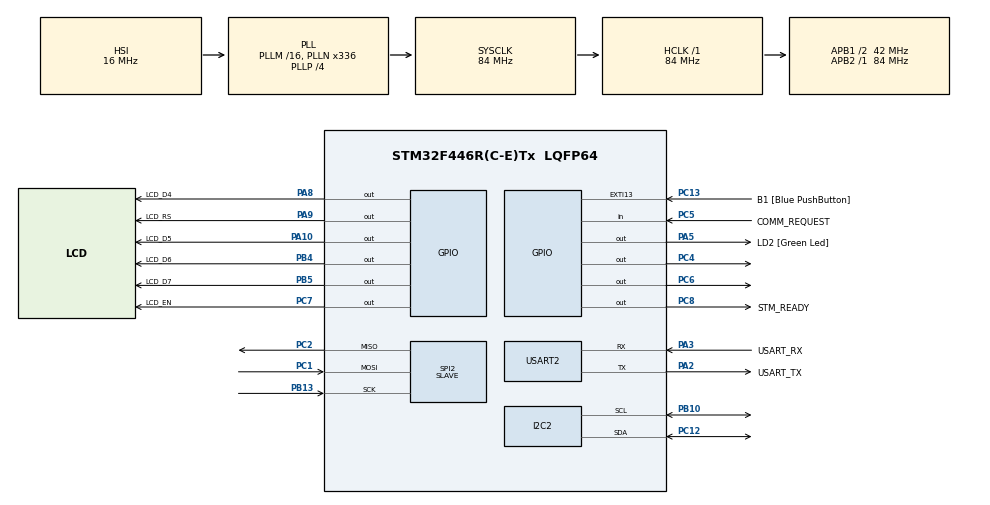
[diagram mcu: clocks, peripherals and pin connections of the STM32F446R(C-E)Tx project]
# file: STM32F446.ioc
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Mcu.Family=STM32F4
Mcu.Name=STM32F446R(C-E)Tx
Mcu.Package=LQFP64
NVIC.PriorityGroup=NVIC_PRIORITYGROUP_0
PA10.GPIO_Label=LCD_D5
PA10.Signal=GPIO_Output
PA13.GPIO_Label=TMS
PA13.Mode=Serial_Wire
PA13.Signal=SYS_JTMS-SWDIO
PA14.GPIO_Label=TCK
PA14.Mode=Serial_Wire
PA14.Signal=SYS_JTCK-SWCLK
PA2.GPIO_Label=USART_TX
PA2.Mode=Asynchronous
PA2.Signal=USART2_TX
PA3.GPIO_Label=USART_RX
PA3.Mode=Asynchronous
PA3.Signal=USART2_RX
PA5.GPIO_Label=LD2 [Green Led]
PA5.Signal=GPIO_Output
PA8.GPIO_Label=LCD_D4
PA8.Signal=GPIO_Output
PA9.GPIO_Label=LCD_RS
PA9.Signal=GPIO_Output
PB10.Mode=I2C
PB10.Signal=I2C2_SCL
PB13.Mode=Full_Duplex_Slave
PB13.Signal=SPI2_SCK
PB3.GPIO_Label=SWO
PB3.Signal=SYS_JTDO-SWO
PB4.GPIO_Label=LCD_D6
PB4.Signal=GPIO_Output
PB5.GPIO_Label=LCD_D7
PB5.Signal=GPIO_Output
PC1.Mode=Full_Duplex_Slave
PC1.Signal=SPI2_MOSI
PC12.Mode=I2C
PC12.Signal=I2C2_SDA
PC13.GPIO_Label=B1 [Blue PushButton]
PC13.GPIO_ModeDefaultEXTI=GPIO_MODE_IT_FALLING
PC13.Signal=GPXTI13
PC14-OSC32_IN.Mode=LSE-External-Oscillator
PC14-OSC32_IN.Signal=RCC_OSC32_IN
PC15-OSC32_OUT.Mode=LSE-External-Oscillator
PC15-OSC32_OUT.Signal=RCC_OSC32_OUT
PC2.Mode=Full_Duplex_Slave
PC2.Signal=SPI2_MISO
PC4.Signal=GPIO_Output
PC5.GPIO_Label=COMM_REQUEST
PC5.Signal=GPIO_Input
PC6.Signal=GPIO_Output
PC7.GPIO_Label=LCD_EN
PC7.Signal=GPIO_Output
PC8.GPIO_Label=STM_READY
PC8.Signal=GPIO_Output
PH0-OSC_IN.Mode=HSE-External-Oscillator
PH0-OSC_IN.Signal=RCC_OSC_IN
PH1-OSC_OUT.Mode=HSE-External-Oscillator
PH1-OSC_OUT.Signal=RCC_OSC_OUT
ProjectManager.HeapSize=0x200
ProjectManager.StackSize=0x400
ProjectManager.TargetToolchain=STM32CubeIDE
RCC.48MHZClocksFreq_Value=84000000
RCC.AHBFreq_Value=84000000
RCC.APB1CLKDivider=RCC_HCLK_DIV2
RCC.APB1Freq_Value=42000000
RCC.APB1TimFreq_Value=84000000
RCC.APB2Freq_Value=84000000
RCC.APB2TimFreq_Value=84000000
RCC.CortexFreq_Value=84000000
RCC.FLatency-AdvancedSettings=FLASH_LATENCY_2
RCC.HCLKFreq_Value=84000000
RCC.HSE_VALUE=8000000
RCC.HSI_VALUE=16000000
RCC.PLLN=336
RCC.PLLP=RCC_PLLP_DIV4
RCC.SYSCLKFreq_VALUE=84000000
RCC.SYSCLKSource=RCC_SYSCLKSOURCE_PLLCLK
RCC.USBFreq_Value=168000000
RCC.VCOOutputFreq_Value=336000000
SPI2.Direction=SPI_DIRECTION_2LINES
SPI2.Mode=SPI_MODE_SLAVE
SPI2.VirtualType=VM_SLAVE
USART2.VirtualMode=VM_ASYNC
board=NUCLEO-F446RE

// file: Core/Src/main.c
/* USER CODE BEGIN Header */
/**
  ******************************************************************************
  * @file           : main.c
  * @brief          : Main program body
  ******************************************************************************
  * @attention
  *
  * Copyright (c) 2026 STMicroelectronics.
  * All rights reserved.
  *
  * This software is licensed under terms that can be found in the LICENSE file
  * in the root directory of this software component.
  * If no LICENSE file comes with this software, it is provided AS-IS.
  *
  ******************************************************************************
  */
/* USER CODE END Header */
#include "main.h"

/* USER CODE BEGIN Includes */
#include "scheduler.h"
#include "sensor_manager.h"
#include "comm_manager.h"
#include "LCD.h"

//Sensors
#include "bmp180.h"
/* USER CODE END Includes */

I2C_HandleTypeDef hi2c2;

SPI_HandleTypeDef hspi2;

UART_HandleTypeDef huart2;

/* USER CODE BEGIN PV */
uint8_t txBuff[11] = {0xAA, 0xBB, 0xCC, 0xDD, 0x11, 0x22};
uint8_t rxBuff[11] = {0};
const uint32_t SPI_TIMEOUT = 30;
/* USER CODE END PV */

void SystemClock_Config(void);
static void MX_GPIO_Init(void);
static void MX_USART2_UART_Init(void);
static void MX_I2C2_Init(void);
static void MX_SPI2_Init(void);

/* USER CODE BEGIN 0 */
//Sensor wiring
void BMP_Init(I2C_HandleTypeDef *i2c_loc){
  BMP180_Init(i2c_loc);
  BMP180_SetOversampling(BMP180_STANDARD);
  BMP180_UpdateCalibrationData();
}

void AllSensor_Init(void){
  BMP_Init(&hi2c2);
}

void InitializeSPI(void){
  Comm_PassRxBufferPtr(rxBuff);
  Comm_UpdateSPISnapshot();
  const SystemSnapshot_t *snap = &snapActive;
  memcpy(txBuff, snap, sizeof(SystemSnapshot_t));
  HAL_GPIO_WritePin(GPIOC, GPIO_PIN_8, GPIO_PIN_SET);
  HAL_SPI_TransmitReceive(&hspi2, txBuff, rxBuff, 11, SPI_TIMEOUT);
  HAL_GPIO_WritePin(GPIOC, GPIO_PIN_8, GPIO_PIN_RESET);

  //Do below only when CRC is not correct
  //HAL_SPI_Abort(&hspi2);      // stop ongoing transfer (blocking)
  HAL_SPI_DeInit(&hspi2);     // reset peripheral state
  HAL_SPI_Init(&hspi2);       // reinitialize
  //Comm_HandleSPIData();
}
/* USER CODE END 0 */

int main(void)
{

  /* MCU Configuration--------------------------------------------------------*/

  /* Reset of all peripherals, Initializes the Flash interface and the Systick. */
  HAL_Init();

  /* Configure the system clock */
  SystemClock_Config();

  /* Initialize all configured peripherals */
  MX_GPIO_Init();
  MX_USART2_UART_Init();
  MX_I2C2_Init();
  MX_SPI2_Init();
  /* USER CODE BEGIN 2 */
  Sensor_Init();
  AllSensor_Init();
  Scheduler_Init();
  LCD_Init();
  int lel = 2;
  if (HAL_I2C_IsDeviceReady(&hi2c2, 0x77<<1, 3, 100) != HAL_OK) {
      lel = 0;
  }
  /* USER CODE END 2 */

  /* Infinite loop */
  /* USER CODE BEGIN WHILE */
  while (1)
  {
	Scheduler_Run();

	lel++;
	if(HAL_GPIO_ReadPin(GPIOC, GPIO_PIN_13) == GPIO_PIN_RESET){
		HAL_GPIO_TogglePin(GPIOA, GPIO_PIN_5);
		HAL_Delay(300);
	}
    /* USER CODE END WHILE */

  }
}

void SystemClock_Config(void)
{
  RCC_OscInitTypeDef RCC_OscInitStruct = {0};
  RCC_ClkInitTypeDef RCC_ClkInitStruct = {0};

  /** Configure the main internal regulator output voltage
  */
  __HAL_RCC_PWR_CLK_ENABLE();
  __HAL_PWR_VOLTAGESCALING_CONFIG(PWR_REGULATOR_VOLTAGE_SCALE3);

  /** Initializes the RCC Oscillators according to the specified parameters
  * in the RCC_OscInitTypeDef structure.
  */
  RCC_OscInitStruct.OscillatorType = RCC_OSCILLATORTYPE_HSI;
  RCC_OscInitStruct.HSIState = RCC_HSI_ON;
  RCC_OscInitStruct.HSICalibrationValue = RCC_HSICALIBRATION_DEFAULT;
  RCC_OscInitStruct.PLL.PLLState = RCC_PLL_ON;
  RCC_OscInitStruct.PLL.PLLSource = RCC_PLLSOURCE_HSI;
  RCC_OscInitStruct.PLL.PLLM = 16;
  RCC_OscInitStruct.PLL.PLLN = 336;
  RCC_OscInitStruct.PLL.PLLP = RCC_PLLP_DIV4;
  RCC_OscInitStruct.PLL.PLLQ = 2;
  RCC_OscInitStruct.PLL.PLLR = 2;
  if (HAL_RCC_OscConfig(&RCC_OscInitStruct) != HAL_OK)
  {
    Error_Handler();
  }

  /** Initializes the CPU, AHB and APB buses clocks
  */
  RCC_ClkInitStruct.ClockType = RCC_CLOCKTYPE_HCLK|RCC_CLOCKTYPE_SYSCLK
                              |RCC_CLOCKTYPE_PCLK1|RCC_CLOCKTYPE_PCLK2;
  RCC_ClkInitStruct.SYSCLKSource = RCC_SYSCLKSOURCE_PLLCLK;
  RCC_ClkInitStruct.AHBCLKDivider = RCC_SYSCLK_DIV1;
  RCC_ClkInitStruct.APB1CLKDivider = RCC_HCLK_DIV2;
  RCC_ClkInitStruct.APB2CLKDivider = RCC_HCLK_DIV1;

  if (HAL_RCC_ClockConfig(&RCC_ClkInitStruct, FLASH_LATENCY_2) != HAL_OK)
  {
    Error_Handler();
  }
}

static void MX_I2C2_Init(void)
{

  hi2c2.Instance = I2C2;
  hi2c2.Init.ClockSpeed = 100000;
  hi2c2.Init.DutyCycle = I2C_DUTYCYCLE_2;
  hi2c2.Init.OwnAddress1 = 0;
  hi2c2.Init.AddressingMode = I2C_ADDRESSINGMODE_7BIT;
  hi2c2.Init.DualAddressMode = I2C_DUALADDRESS_DISABLE;
  hi2c2.Init.OwnAddress2 = 0;
  hi2c2.Init.GeneralCallMode = I2C_GENERALCALL_DISABLE;
  hi2c2.Init.NoStretchMode = I2C_NOSTRETCH_DISABLE;
  if (HAL_I2C_Init(&hi2c2) != HAL_OK)
  {
    Error_Handler();
  }

}

static void MX_SPI2_Init(void)
{

  /* SPI2 parameter configuration*/
  hspi2.Instance = SPI2;
  hspi2.Init.Mode = SPI_MODE_SLAVE;
  hspi2.Init.Direction = SPI_DIRECTION_2LINES;
  hspi2.Init.DataSize = SPI_DATASIZE_8BIT;
  hspi2.Init.CLKPolarity = SPI_POLARITY_LOW;
  hspi2.Init.CLKPhase = SPI_PHASE_1EDGE;
  hspi2.Init.NSS = SPI_NSS_SOFT;
  hspi2.Init.FirstBit = SPI_FIRSTBIT_MSB;
  hspi2.Init.TIMode = SPI_TIMODE_DISABLE;
  hspi2.Init.CRCCalculation = SPI_CRCCALCULATION_DISABLE;
  hspi2.Init.CRCPolynomial = 10;
  if (HAL_SPI_Init(&hspi2) != HAL_OK)
  {
    Error_Handler();
  }

}

static void MX_USART2_UART_Init(void)
{

  huart2.Instance = USART2;
  huart2.Init.BaudRate = 115200;
  huart2.Init.WordLength = UART_WORDLENGTH_8B;
  huart2.Init.StopBits = UART_STOPBITS_1;
  huart2.Init.Parity = UART_PARITY_NONE;
  huart2.Init.Mode = UART_MODE_TX_RX;
  huart2.Init.HwFlowCtl = UART_HWCONTROL_NONE;
  huart2.Init.OverSampling = UART_OVERSAMPLING_16;
  if (HAL_UART_Init(&huart2) != HAL_OK)
  {
    Error_Handler();
  }

}

static void MX_GPIO_Init(void)
{
  GPIO_InitTypeDef GPIO_InitStruct = {0};

  /* GPIO Ports Clock Enable */
  __HAL_RCC_GPIOC_CLK_ENABLE();
  __HAL_RCC_GPIOH_CLK_ENABLE();
  __HAL_RCC_GPIOA_CLK_ENABLE();
  __HAL_RCC_GPIOB_CLK_ENABLE();

  /*Configure GPIO pin Output Level */
  HAL_GPIO_WritePin(GPIOA, LD2_Pin|LCD_D4_Pin|LCD_RS_Pin|LCD_D5_Pin, GPIO_PIN_RESET);

  /*Configure GPIO pin Output Level */
  HAL_GPIO_WritePin(GPIOC, GPIO_PIN_4|GPIO_PIN_6|LCD_EN_Pin|STM_READY_Pin, GPIO_PIN_RESET);

  /*Configure GPIO pin Output Level */
  HAL_GPIO_WritePin(GPIOB, LCD_D6_Pin|LCD_D7_Pin, GPIO_PIN_RESET);

  /*Configure GPIO pin : B1_Pin */
  GPIO_InitStruct.Pin = B1_Pin;
  GPIO_InitStruct.Mode = GPIO_MODE_IT_FALLING;
  GPIO_InitStruct.Pull = GPIO_NOPULL;
  HAL_GPIO_Init(B1_GPIO_Port, &GPIO_InitStruct);

  /*Configure GPIO pins : LD2_Pin LCD_D4_Pin LCD_RS_Pin LCD_D5_Pin */
  GPIO_InitStruct.Pin = LD2_Pin|LCD_D4_Pin|LCD_RS_Pin|LCD_D5_Pin;
  GPIO_InitStruct.Mode = GPIO_MODE_OUTPUT_PP;
  GPIO_InitStruct.Pull = GPIO_NOPULL;
  GPIO_InitStruct.Speed = GPIO_SPEED_FREQ_LOW;
  HAL_GPIO_Init(GPIOA, &GPIO_InitStruct);

  /*Configure GPIO pins : PC4 PC6 LCD_EN_Pin STM_READY_Pin */
  GPIO_InitStruct.Pin = GPIO_PIN_4|GPIO_PIN_6|LCD_EN_Pin|STM_READY_Pin;
  GPIO_InitStruct.Mode = GPIO_MODE_OUTPUT_PP;
  GPIO_InitStruct.Pull = GPIO_NOPULL;
  GPIO_InitStruct.Speed = GPIO_SPEED_FREQ_LOW;
  HAL_GPIO_Init(GPIOC, &GPIO_InitStruct);

  /*Configure GPIO pin : COMM_REQUEST_Pin */
  GPIO_InitStruct.Pin = COMM_REQUEST_Pin;
  GPIO_InitStruct.Mode = GPIO_MODE_INPUT;
  GPIO_InitStruct.Pull = GPIO_NOPULL;
  HAL_GPIO_Init(COMM_REQUEST_GPIO_Port, &GPIO_InitStruct);

  /*Configure GPIO pins : LCD_D6_Pin LCD_D7_Pin */
  GPIO_InitStruct.Pin = LCD_D6_Pin|LCD_D7_Pin;
  GPIO_InitStruct.Mode = GPIO_MODE_OUTPUT_PP;
  GPIO_InitStruct.Pull = GPIO_NOPULL;
  GPIO_InitStruct.Speed = GPIO_SPEED_FREQ_LOW;
  HAL_GPIO_Init(GPIOB, &GPIO_InitStruct);

}

void Error_Handler(void)
{
  __disable_irq();
  while (1)
  {
  }
}
